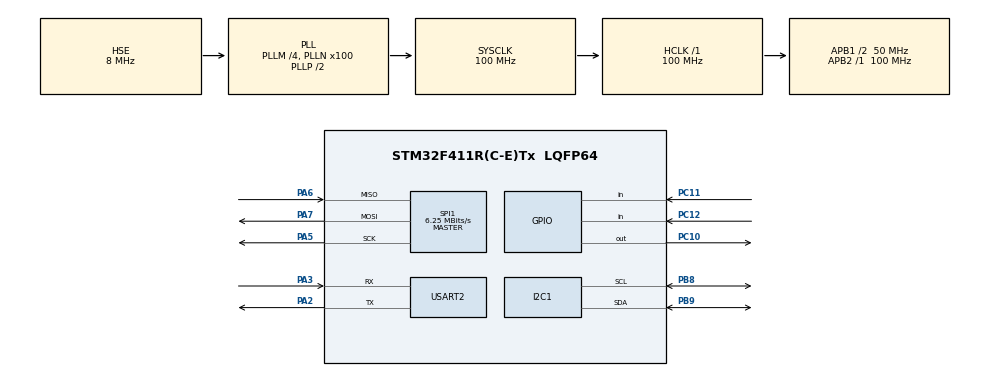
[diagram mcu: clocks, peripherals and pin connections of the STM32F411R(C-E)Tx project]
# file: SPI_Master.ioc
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FREERTOS.Tasks01=defaultTask,0,128,StartDefaultTask,Default,NULL,Dynamic,NULL,NULL;Listener_Task,0,128,Listener,Default,NULL,Dynamic,NULL,NULL;Controller_Task,0,128,Controller,Default,NULL,Dynamic,NULL,NULL;Presenter_Task,0,128,Presenter,Default,NULL,Dynamic,NULL,NULL
FREERTOS.configUSE_NEWLIB_REENTRANT=1
Mcu.Family=STM32F4
Mcu.Name=STM32F411R(C-E)Tx
Mcu.Package=LQFP64
NVIC.PriorityGroup=NVIC_PRIORITYGROUP_4
NVIC.TIM1_TRG_COM_TIM11_IRQn=true\:15\:0\:false\:false\:true\:false\:false\:true\:true
NVIC.TimeBase=TIM1_TRG_COM_TIM11_IRQn
NVIC.TimeBaseIP=TIM11
PA13.Mode=Serial_Wire
PA13.Signal=SYS_JTMS-SWDIO
PA14.Mode=Serial_Wire
PA14.Signal=SYS_JTCK-SWCLK
PA2.Mode=Asynchronous
PA2.Signal=USART2_TX
PA3.Mode=Asynchronous
PA3.Signal=USART2_RX
PA5.Mode=Full_Duplex_Master
PA5.Signal=SPI1_SCK
PA6.Mode=Full_Duplex_Master
PA6.Signal=SPI1_MISO
PA7.Mode=Full_Duplex_Master
PA7.Signal=SPI1_MOSI
PB8.Mode=I2C
PB8.Signal=I2C1_SCL
PB9.Mode=I2C
PB9.Signal=I2C1_SDA
PC10.Signal=GPIO_Output
PC11.Signal=GPIO_Input
PC12.Signal=GPIO_Input
PH0\ -\ OSC_IN.Mode=HSE-External-Oscillator
PH0\ -\ OSC_IN.Signal=RCC_OSC_IN
PH1\ -\ OSC_OUT.Mode=HSE-External-Oscillator
PH1\ -\ OSC_OUT.Signal=RCC_OSC_OUT
ProjectManager.HeapSize=0x200
ProjectManager.StackSize=0x400
ProjectManager.TargetToolchain=STM32CubeIDE
RCC.48MHZClocksFreq_Value=50000000
RCC.AHBFreq_Value=100000000
RCC.APB1CLKDivider=RCC_HCLK_DIV2
RCC.APB1Freq_Value=50000000
RCC.APB1TimFreq_Value=100000000
RCC.APB2Freq_Value=100000000
RCC.APB2TimFreq_Value=100000000
RCC.CortexFreq_Value=100000000
RCC.HCLKFreq_Value=100000000
RCC.HSE_VALUE=8000000
RCC.HSI_VALUE=16000000
RCC.LSE_VALUE=32768
RCC.PLLM=4
RCC.PLLN=100
RCC.PLLSourceVirtual=RCC_PLLSOURCE_HSE
RCC.SYSCLKFreq_VALUE=100000000
RCC.SYSCLKSource=RCC_SYSCLKSOURCE_PLLCLK
RCC.VCOOutputFreq_Value=200000000
SPI1.BaudRatePrescaler=SPI_BAUDRATEPRESCALER_16
SPI1.CalculateBaudRate=6.25 MBits/s
SPI1.DataSize=SPI_DATASIZE_16BIT
SPI1.Direction=SPI_DIRECTION_2LINES
SPI1.Mode=SPI_MODE_MASTER
SPI1.VirtualType=VM_MASTER
USART2.VirtualMode=VM_ASYNC
VP_FREERTOS_VS_CMSIS_V1.Mode=CMSIS_V1
VP_SYS_VS_tim11.Mode=TIM11
board=custom

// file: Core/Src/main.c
/* USER CODE BEGIN Header */
/**
  ******************************************************************************
  * @file           : main.c
  * @brief          : Main program body (Cleaned for Task Conflicts)
  ******************************************************************************
  */
/* USER CODE END Header */

#include "main.h"
#include "cmsis_os.h"
#include "i2c.h"
#include "spi.h"
#include "usart.h"
#include "gpio.h"

/* USER CODE BEGIN Includes */
#include <stdio.h>
#include "../ap/Common/Common.h"
#include "../ap/Listener/ListenerTracking.h"
#include "../ap/Model/ModelTracking.h"
#include "../ap/Controller/ControllerTracking.h"
#include "../ap/Presenter/PresenterTracking.h"
#include "../driver/SPI/SPI.h"
/* USER CODE END Includes */

/* 핸들 참조 */
extern I2C_HandleTypeDef hi2c1;
extern SPI_HandleTypeDef hspi1;
extern UART_HandleTypeDef huart2;

/* RTOS 핸들 정의 */
osThreadId defaultTaskHandle;
osThreadId Listener_TaskHandle;
osThreadId Controller_TaskHandle;
osThreadId Presenter_TaskHandle;

/* USER CODE BEGIN PV */
/* Reference Architecture: Queue는 Model에서 관리 */
/* USER CODE END PV */

void SystemClock_Config(void);
void MX_FREERTOS_Init(void);

/* 태스크 함수 선언 (프로토타입만 남깁니다) */
void StartDefaultTask(void const * argument);
void Listener(void const * argument);
void Controller(void const * argument);
void Presenter(void const * argument);

/* USER CODE BEGIN 0 */
/**
  * @brief printf 리다이렉션: usart.c 수정 없이 UART2로 출력
  */
int _write(int file, char *ptr, int len)
{
    HAL_UART_Transmit(&huart2, (uint8_t*)ptr, len, 10);
    return len;
}

/* ========================================
 * SPI 수신 완료 콜백 (인터럽트 모드)
 * ======================================== */
void HAL_SPI_TxRxCpltCallback(SPI_HandleTypeDef *hspi) {
    if (hspi->Instance == SPI1) {
        // 1. CS 핀 올리기 (통신 종료)
        HAL_GPIO_WritePin(GPIOC, GPIO_PIN_10, GPIO_PIN_SET);

        // 2. 수신된 4바이트 데이터를 32비트로 조립
        extern uint8_t rx_buff[4];  // ListenerTracking.c 변수 참조
        extern RxPacket_t g_rx_packet_tracking;

        g_rx_packet_tracking.raw = (rx_buff[0] << 24) |
                                   (rx_buff[1] << 16) |
                                   (rx_buff[2] << 8)  |
                                    rx_buff[3];

        // 3. Event 발행 (Reference Architecture)
        extern osMessageQId trackingEventMsgBox;
        extern void Listener_Tracking_StartReceive(void);

        BaseType_t xHigherPriorityTaskWoken = pdFALSE;
        osMessagePut(trackingEventMsgBox, EVENT_FPGA_DATA_RECEIVED, 0);

        // 4. 연속 수신: 다음 SPI 전송 즉시 시작 (FPGA 계속 받기!)
        Listener_Tracking_StartReceive();

        // 5. 컨텍스트 스위칭 필요 시 수행
        portYIELD_FROM_ISR(xHigherPriorityTaskWoken);
    }
}
/* USER CODE END 0 */

int main(void)
{
  HAL_Init();
  SystemClock_Config();

  /* 하드웨어 초기화 */
  MX_GPIO_Init();
  MX_I2C1_Init();
  MX_SPI1_Init();
  MX_USART2_UART_Init();

  /* USER CODE BEGIN 2 */
  // UART 테스트 메시지 (시스템 시작 확인)
  printf("\r\n");
  printf("========================================\r\n");
  printf("  STM32 System Initialized\r\n");
  printf("  UART2 Working - Baud: 115200\r\n");
  printf("========================================\r\n");
  printf("\r\n");

  SPI_Init();
  /* USER CODE END 2 */

  /* USER CODE BEGIN RTOS_QUEUES */
  /* Reference Architecture: Model에서 Queue/Pool 초기화 */
  extern void Model_Tracking_QueueInit(void);
  Model_Tracking_QueueInit();
  /* USER CODE END RTOS_QUEUES */

  /* 태스크 생성 */
  osThreadDef(defaultTask, StartDefaultTask, osPriorityNormal, 0, 128);
  defaultTaskHandle = osThreadCreate(osThread(defaultTask), NULL);

  osThreadDef(Listener_Task, Listener, osPriorityNormal, 0, 128);
  Listener_TaskHandle = osThreadCreate(osThread(Listener_Task), NULL);

  osThreadDef(Controller_Task, Controller, osPriorityNormal, 0, 128);
  Controller_TaskHandle = osThreadCreate(osThread(Controller_Task), NULL);

  osThreadDef(Presenter_Task, Presenter, osPriorityNormal, 0, 512);
  Presenter_TaskHandle = osThreadCreate(osThread(Presenter_Task), NULL);

  MX_FREERTOS_Init();
  osKernelStart();

  while (1) {}
}

void SystemClock_Config(void)
{
  RCC_OscInitTypeDef RCC_OscInitStruct = {0};
  RCC_ClkInitTypeDef RCC_ClkInitStruct = {0};
  __HAL_RCC_PWR_CLK_ENABLE();
  __HAL_PWR_VOLTAGESCALING_CONFIG(PWR_REGULATOR_VOLTAGE_SCALE1);
  RCC_OscInitStruct.OscillatorType = RCC_OSCILLATORTYPE_HSE;
  RCC_OscInitStruct.HSEState = RCC_HSE_ON;
  RCC_OscInitStruct.PLL.PLLState = RCC_PLL_ON;
  RCC_OscInitStruct.PLL.PLLSource = RCC_PLLSOURCE_HSE;
  RCC_OscInitStruct.PLL.PLLM = 4;
  RCC_OscInitStruct.PLL.PLLN = 100;
  RCC_OscInitStruct.PLL.PLLP = RCC_PLLP_DIV2;
  RCC_OscInitStruct.PLL.PLLQ = 4;
  HAL_RCC_OscConfig(&RCC_OscInitStruct);
  RCC_ClkInitStruct.ClockType = RCC_CLOCKTYPE_HCLK|RCC_CLOCKTYPE_SYSCLK|RCC_CLOCKTYPE_PCLK1|RCC_CLOCKTYPE_PCLK2;
  RCC_ClkInitStruct.SYSCLKSource = RCC_SYSCLKSOURCE_PLLCLK;
  RCC_ClkInitStruct.AHBCLKDivider = RCC_SYSCLK_DIV1;
  RCC_ClkInitStruct.APB1CLKDivider = RCC_HCLK_DIV2;
  RCC_ClkInitStruct.APB2CLKDivider = RCC_HCLK_DIV1;
  HAL_RCC_ClockConfig(&RCC_ClkInitStruct, FLASH_LATENCY_3);
}

void Error_Handler(void) { __disable_irq(); while (1) {} }

/* USER CODE BEGIN 4 */
/* [수정 완료] 여기에 있던 빈 함수 본문들을 모두 삭제했습니다.
   이제 freertos.c에 있는 실제 함수들과 충돌하지 않습니다. */
/* USER CODE END 4 */

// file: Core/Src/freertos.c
/* USER CODE BEGIN Header */
/**
  ******************************************************************************
  * File Name          : freertos.c
  * Description        : Polling Scenario for SPI 32-bit Debugging
  ******************************************************************************
  */
/* USER CODE END Header */

#include "FreeRTOS.h"
#include "task.h"
#include "main.h"
#include "cmsis_os.h"

/* USER CODE BEGIN Includes */
#include <stdio.h>
#include "usart.h" // UART 핸들
#include "../ap/Common/Common.h"
#include "../ap/Listener/Listener_SPITest.h"
#include "../ap/Model/Model_SPITest.h"
#include "../ap/Presenter/Presenter_SPITest.h"
#include "../ap/Controller/Controller_SPITest.h"
#include "../driver/SPI/SPI.h"
/* USER CODE END Includes */

/* USER CODE BEGIN Variables */
extern Model_SPITest_t g_spi_test_model;
extern UART_HandleTypeDef huart2;

extern osThreadId defaultTaskHandle;
extern osThreadId Listener_TaskHandle;
extern osThreadId Controller_TaskHandle;
extern osThreadId Presenter_TaskHandle;
/* USER CODE END Variables */

/* GetIdleTaskMemory 함수들 (생략 가능하나 유지) */
static StaticTask_t xIdleTaskTCBBuffer;
static StackType_t xIdleStack[configMINIMAL_STACK_SIZE];
void vApplicationGetIdleTaskMemory( StaticTask_t **ppxIdleTaskTCBBuffer, StackType_t **ppxIdleTaskStackBuffer, uint32_t *pulIdleTaskStackSize )
{
  *ppxIdleTaskTCBBuffer = &xIdleTaskTCBBuffer;
  *ppxIdleTaskStackBuffer = &xIdleStack[0];
  *pulIdleTaskStackSize = configMINIMAL_STACK_SIZE;
}

void MX_FREERTOS_Init(void) {}

/* 다른 태스크들은 현재 사용 안 함 */
void StartDefaultTask(void const * argument) { for(;;) { osDelay(1); } }
void Listener(void const * argument) { for(;;) { osDelay(1000); } }
void Controller(void const * argument) { for(;;) { osDelay(1000); } }

/**
* @brief Presenter_Task: 폴링 방식으로 32비트 데이터 검증
*/
void Presenter(void const * argument)
{
  /* 초기화 */
  Model_SPITest_Init(&g_spi_test_model);
  Listener_SPITest_Init();

  osDelay(500);
  printf("finish___");
  printf("\r\n--- SPI Polling Mode (8-bit Fix) ---\r\n");

  for(;;)
  {
    /* 1. SPI 데이터 요청 (여기서 CS Low -> 32clk -> CS High 발생) */
    Listener_SPITest_RequestData();

    /* 2. 모델 업데이트 */
    Presenter_SPITest_SyncData(&g_spi_test_model);

    /* 3. PC 터미널로 출력 */
    // Raw 값이 0x00000000이 아닌 값이 나와야 성공!
    printf("[SPI] Raw: 0x%08lX | X: %lu | Y: %lu\r\n",
           g_spi_test_model.rx_packet.raw,
           g_spi_test_model.rx_packet.fields.x_pos,
           g_spi_test_model.rx_packet.fields.y_pos);

    osDelay(200); // 0.2초마다 반복
  }
}
